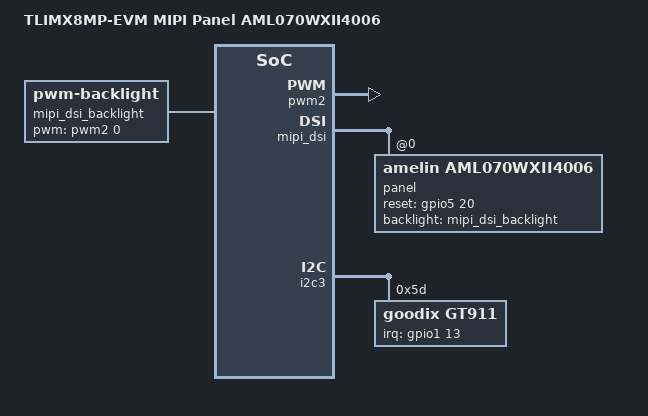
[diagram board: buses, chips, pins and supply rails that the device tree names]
/*
 * Copyright (C) 2015 GuangZhou Tronlong co., LTD - http://www.tronlong.com
 *
 * This program is free software; you can redistribute it and/or modify
 * it under the terms of the GNU General Public License version 2 as
 * published by the Free Software Foundation.
 */

/dts-v1/;

#include "tlimx8mp-evm.dts"

/ {
	model = "TLIMX8MP-EVM MIPI Panel AML070WXII4006";

	mipi_dsi_backlight: mipi_dsi_backlight {
		compatible = "pwm-backlight";
		pwms = <&pwm2 0 100000>;
		status = "okay";
		brightness-levels = <0 100>;
		num-interpolated-steps = <100>;
		default-brightness-level = <100>;
	};
};

&pwm2 {
	pinctrl-names = "default";
	pinctrl-0 = <&pinctrl_pwm2>;
	status = "okay";
};

&mipi_dsi {
	status = "okay";

	panel@0 {
		compatible = "amelin,aml070wxii4006";
		reg = <0>;
		pinctrl-names = "default";
		pinctrl-0 = <&pinctrl_mipi_lcd_rst>;
		reset-gpio = <&gpio5 20 GPIO_ACTIVE_HIGH>;
		backlight = <&mipi_dsi_backlight>;
		status = "okay";
	};
};

&i2c3 {
	status = "okay";

	gt911@5d {
		pinctrl-names = "default";
		pinctrl-0 = <&pinctrl_gt911>;

		compatible = "goodix,gt911";
		reg = <0x5d>;
		interrupt-parent = <&gpio1>;
		interrupts = <13 0>;
		irq-gpios = <&gpio1 13 0>;
	};
};

&iomuxc {
	pinctrl_pwm2: pwm2grp {
		fsl,pins = <
			MX8MP_IOMUXC_GPIO1_IO09__PWM2_OUT		0x116
		>;
	};

	pinctrl_mipi_lcd_rst: mipi_lcd_rst {
		fsl,pins = <
			MX8MP_IOMUXC_I2C4_SCL__GPIO5_IO20		0x00000106	/* RST */
		>;
	};

	pinctrl_gt911: pinctrl_gt911grp {
		fsl,pins = <
			MX8MP_IOMUXC_GPIO1_IO13__GPIO1_IO13		0x00000146	/* INT */
			MX8MP_IOMUXC_I2C4_SDA__GPIO5_IO21		0x00000106	/* RST */
		>;
	};
};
